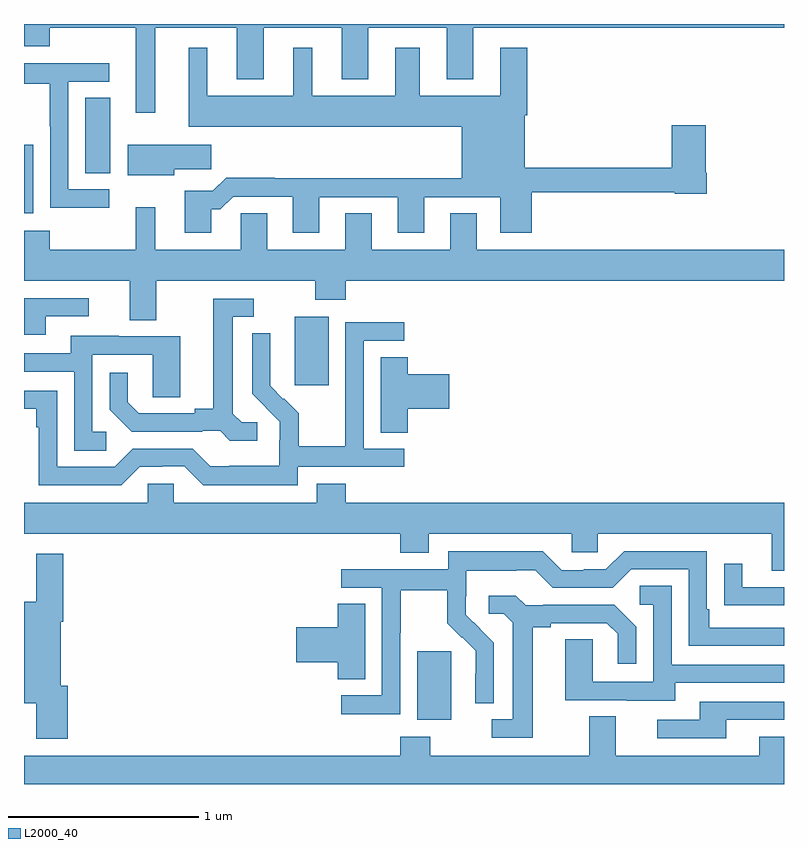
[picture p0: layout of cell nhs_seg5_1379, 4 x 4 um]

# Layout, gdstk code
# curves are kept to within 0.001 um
import gdstk
lib = gdstk.Library(unit=1e-6, precision=1e-09)
def R(c, l, rs):  # rectangles x0, y0, x1, y1
    for r in rs: c.add(gdstk.rectangle(r[:2], r[2:], *l))
def P(c, l, *ps):  # polygons
    for p in ps: c.add(gdstk.Polygon(p, *l))
L2000_40 = (2000, 40)

nhs_seg5_1379 = lib.new_cell('nhs_seg5_1379')
R(nhs_seg5_1379, L2000_40, [(197.069,833.138,197.248,833.499), (196.424,834.897,196.603,835.258), (195,835.802,195.049,836.163), (195.323,836.014,195.454,836.411)])
P(nhs_seg5_1379, L2000_40, [(195.691,836.78),(196.121,836.78),(196.121,836.507),(196.261,836.507),(196.261,836.78),(196.673,836.78),(196.673,836.507),(196.813,836.507),(196.813,836.78),(197.225,836.78),(197.225,836.507),(197.365,836.507),(197.365,836.78),(199,836.78),(199,836.799),(195,836.799),(195,836.681),(195.135,836.681),(195.135,836.78),(195.587,836.78),(195.587,836.331),(195.691,836.331)],
  [(195.985,835.823),(196.034,835.823),(196.101,835.89),(196.415,835.89),(196.415,835.701),(196.555,835.701),(196.555,835.887),(196.967,835.887),(196.967,835.701),(197.107,835.701),(197.107,835.887),(197.507,835.887),(197.507,835.701),(197.672,835.701),(197.672,835.914),(198.426,835.914),(198.426,835.906),(198.593,835.906),(198.593,836.017),(198.588,836.017),(198.588,836.266),(198.41,836.266),(198.41,836.042),(197.635,836.042),(197.635,836.318),(197.648,836.318),(197.648,836.674),(197.507,836.674),(197.507,836.422),(197.083,836.422),(197.083,836.674),(196.955,836.674),(196.955,836.422),(196.516,836.422),(196.516,836.674),(196.418,836.674),(196.418,836.422),(195.964,836.422),(195.964,836.674),(195.866,836.674),(195.866,836.258),(197.303,836.258),(197.303,835.988),(196.319,835.988),(196.319,835.991),(196.064,835.991),(195.994,835.921),(195.845,835.921),(195.845,835.701),(195.985,835.701)],
  [(195.448,835.929),(195.234,835.929),(195.234,836.496),(195.448,836.496),(195.448,836.592),(195,836.592),(195,836.484),(195.136,836.484),(195.136,836.26),(195.138,836.26),(195.138,835.831),(195.448,835.831)],
  [(195.79,836.035),(195.985,836.035),(195.985,836.164),(195.546,836.164),(195.546,836.003),(195.79,836.003)],
  [(195.697,835.448),(196.534,835.448),(196.534,835.349),(196.694,835.349),(196.694,835.448),(199,835.448),(199,835.612),(197.383,835.612),(197.383,835.802),(197.243,835.802),(197.243,835.612),(196.831,835.612),(196.831,835.802),(196.691,835.802),(196.691,835.612),(196.279,835.612),(196.279,835.802),(196.14,835.802),(196.14,835.612),(195.691,835.612),(195.691,835.834),(195.587,835.834),(195.587,835.612),(195.135,835.612),(195.135,835.711),(195,835.711),(195,835.448),(195.557,835.448),(195.557,835.24),(195.697,835.24)],
  [(195.115,835.26),(195.34,835.26),(195.34,835.356),(195,835.356),(195,835.164),(195.115,835.164)],
  [(196.228,834.702),(196.146,834.702),(196.099,834.749),(196.099,835.257),(196.21,835.257),(196.21,835.353),(195.995,835.353),(195.995,834.773),(195.899,834.773),(195.899,834.75),(195.604,834.75),(195.547,834.807),(195.547,834.964),(195.45,834.964),(195.45,834.77),(195.566,834.654),(195.938,834.654),(195.938,834.657),(196.032,834.657),(196.084,834.605),(196.228,834.605)],
  [(196.44,834.468),(197.002,834.468),(197.002,834.564),(196.788,834.564),(196.788,835.131),(197.002,835.131),(197.002,835.23),(196.692,835.23),(196.692,834.8),(196.69,834.8),(196.69,834.577),(196.445,834.577),(196.445,834.751),(196.368,834.828),(196.365,834.825),(196.295,834.896),(196.296,835.172),(196.2,835.172),(196.2,834.854),(196.346,834.706),(196.346,834.609),(196.344,834.609),(196.344,834.475),(196.081,834.475),(196.081,834.471),(195.981,834.471),(195.888,834.564),(195.573,834.564),(195.477,834.468),(195.174,834.468),(195.174,834.87),(195,834.87),(195,834.774),(195.065,834.774),(195.065,834.677),(195.078,834.677),(195.078,834.372),(195.513,834.372),(195.609,834.468),(195.728,834.468),(195.728,834.471),(195.843,834.471),(195.943,834.371),(196.44,834.371)],
  [(195.433,834.654),(195.36,834.654),(195.36,835.059),(195.678,835.059),(195.678,834.835),(195.823,834.835),(195.823,835.155),(195.499,835.155),(195.499,835.159),(195.245,835.159),(195.245,835.065),(195,835.065),(195,834.969),(195.264,834.969),(195.264,834.553),(195.433,834.553)],
  [(197.021,834.773),(197.239,834.773),(197.239,834.956),(197.021,834.956),(197.021,835.046),(196.877,835.046),(196.877,834.649),(197.021,834.649)],
  [(199,834.28),(196.694,834.28),(196.694,834.379),(196.541,834.379),(196.541,834.28),(195.789,834.28),(195.789,834.378),(195.651,834.378),(195.651,834.28),(195,834.28),(195,834.116),(196.979,834.116),(196.979,834.017),(197.131,834.017),(197.131,834.116),(197.883,834.116),(197.883,834.018),(198.021,834.018),(198.021,834.116),(198.935,834.116),(198.935,833.922),(199,833.922)],
  [(196.98,833.596),(196.983,833.596),(196.983,833.82),(197.227,833.82),(197.227,833.645),(197.304,833.568),(197.307,833.571),(197.378,833.501),(197.378,833.378),(197.376,833.378),(197.376,833.224),(197.472,833.224),(197.472,833.542),(197.326,833.69),(197.326,833.787),(197.328,833.787),(197.328,833.921),(197.591,833.921),(197.591,833.925),(197.691,833.925),(197.784,833.832),(198.099,833.832),(198.195,833.928),(198.498,833.928),(198.498,833.526),(199,833.526),(199,833.622),(198.607,833.622),(198.607,833.719),(198.594,833.719),(198.594,834.024),(198.159,834.024),(198.063,833.928),(197.945,833.928),(197.945,833.925),(197.829,833.925),(197.729,834.025),(197.232,834.025),(197.232,833.928),(196.671,833.928),(196.671,833.832),(196.884,833.832),(196.884,833.265),(196.671,833.265),(196.671,833.167),(196.98,833.167)],
  [(195.23,833.316),(195.193,833.316),(195.193,833.654),(195.206,833.654),(195.206,834.01),(195.065,834.01),(195.065,833.758),(195,833.758),(195,833.223),(195.065,833.223),(195.065,833.037),(195.23,833.037)],
  [(199,833.835),(198.781,833.835),(198.781,833.959),(198.685,833.959),(198.685,833.74),(198.787,833.74),(198.787,833.739),(199,833.739)],
  [(198.427,833.331),(199,833.331),(199,833.427),(198.408,833.427),(198.408,833.843),(198.24,833.843),(198.24,833.742),(198.312,833.742),(198.312,833.337),(197.994,833.337),(197.994,833.561),(197.849,833.561),(197.849,833.241),(198.173,833.241),(198.173,833.237),(198.427,833.237)],
  [(197.677,833.624),(197.773,833.624),(197.773,833.646),(198.068,833.646),(198.125,833.589),(198.125,833.433),(198.222,833.433),(198.222,833.626),(198.106,833.742),(197.734,833.742),(197.734,833.739),(197.64,833.739),(197.588,833.791),(197.445,833.791),(197.445,833.694),(197.526,833.694),(197.573,833.647),(197.573,833.139),(197.463,833.139),(197.463,833.043),(197.677,833.043)],
  [(196.795,833.747),(196.652,833.747),(196.652,833.624),(196.434,833.624),(196.434,833.441),(196.652,833.441),(196.652,833.35),(196.795,833.35)],
  [(198.697,833.136),(199,833.136),(199,833.232),(198.557,833.232),(198.557,833.136),(198.333,833.136),(198.333,833.04),(198.697,833.04)],
  [(199,833.047),(198.869,833.047),(198.869,832.948),(198.115,832.948),(198.115,833.156),(197.975,833.156),(197.975,832.948),(197.139,832.948),(197.139,833.047),(196.979,833.047),(196.979,832.948),(195,832.948),(195,832.799),(199,832.799)])

lib.write_gds('nhs_seg5_1379.gds')
